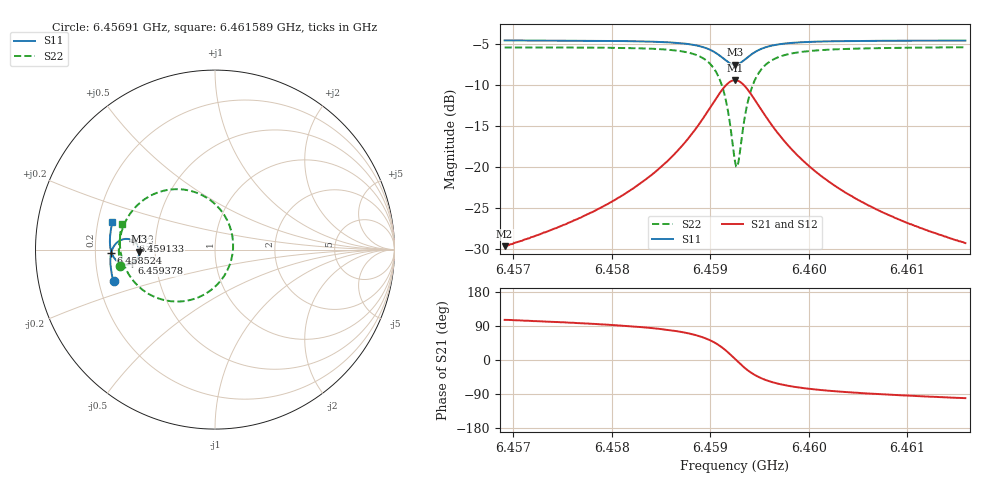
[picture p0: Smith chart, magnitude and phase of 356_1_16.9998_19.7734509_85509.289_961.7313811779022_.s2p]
#  HZ  S  RI  R  50.00
! Rohde & Schwarz Vector Network Analyzer
! Rohde-Schwarz,ZNB20-2Port,1311601062101988,3.16
! Created: UTC 3/20/2024, 11:08:01 PM
! freq[Hz]  re:S11  im:S11  re:S21  im:S21  re:S12  im:S12  re:S22  im:S22
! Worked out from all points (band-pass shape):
!   401 points, 6.45691 GHz to 6.461589 GHz, reference 50 ohm
!   highest |S21| = -9.40 dB at 6.45925 GHz (marker M1); lowest = -29.6 dB at 6.45691 GHz (marker M2)
!   |S21| within 3 dB of the highest: 6.459016 GHz to 6.459484 GHz (467.5 kHz wide, 0.00724 % of centre)
!   lowest |S11| = -7.5 dB at 6.45925 GHz (marker M3), VSWR 2.45, Z = 20.4 - j0.583 ohm
!   |S11| at or under -10 dB: nowhere
!   |S22| runs from -19.9 to -5.4 dB; largest |S21 - S12| = 0.013
!   S11 on the Smith chart (normalised r, x): 6.45691 GHz: 0.26, -0.14; 6.458524 GHz: 0.27, -0.01; 6.459133 GHz: 0.37, +0.05; 6.459378 GHz: 0.36, -0.07; 6.461589 GHz: 0.26, +0.12
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6.4569104e9  -0.565 -0.1773  -0.00906 0.0317  -0.0074 0.0317  -0.5293 -0.0902
6.457694e9  -0.5799 -0.1094  -0.00597 0.0493  -0.00349 0.0488  -0.5357 -6.34e-05
6.4581268e9  -0.5832 -0.0663  -0.000249 0.0685  0.00292 0.0673  -0.5286 0.0671
6.4584777e9  -0.5799 -0.0249  0.0132 0.0968  0.0171 0.0943  -0.5043 0.1445
6.4585245e9  -0.5785 -0.0186  0.0164 0.1023  0.0204 0.0994  -0.4982 0.1574
6.458735e9  -0.5666 0.0132  0.0419 0.1334  0.046 0.1288  -0.4506 0.2285
6.4588871e9  -0.5459 0.0396  0.0836 0.1635  0.0871 0.1571  -0.3739 0.2923
6.4590391e9  -0.5005 0.0595  0.1739 0.1826  0.1748 0.1753  -0.2093 0.3367
6.4591327e9  -0.4566 0.0499  0.2622 0.1526  0.2624 0.1467  -0.0458 0.289
6.4591795e9  -0.4356 0.0315  0.3054 0.1109  0.3066 0.1056  0.0359 0.2148
6.4592497e9  -0.4209 -0.0118  0.3386 0.0158  0.342 0.00908  0.1008 0.0392
6.4592731e9  -0.4226 -0.0274  0.3367 -0.019  0.3405 -0.027  0.0971 -0.0263
6.4592848e9  -0.4247 -0.0349  0.3333 -0.0357  0.3369 -0.0446  0.0903 -0.0584
6.4593316e9  -0.44 -0.0606  0.3057 -0.0948  0.3077 -0.1061  0.0347 -0.1693
6.4593783e9  -0.4614 -0.0765  0.2645 -0.1354  0.2637 -0.1481  -0.0481 -0.2432
6.4594719e9  -0.5042 -0.0831  0.1815 -0.1664  0.1754 -0.1775  -0.2131 -0.2896
6.459624e9  -0.5474 -0.0628  0.095 -0.1531  0.0869 -0.1591  -0.3777 -0.2419
6.4597877e9  -0.5687 -0.0351  0.0511 -0.1261  0.0435 -0.1287  -0.4569 -0.1715
6.4600334e9  -0.5811 0.000393  0.0222 -0.0952  0.0166 -0.0958  -0.5044 -0.0905
6.4603726e9  -0.5855 0.0403  0.00663 -0.0696  0.00265 -0.0693  -0.5253 -0.0143
6.460817e9  -0.5836 0.0846  -0.00141 -0.0508  -0.00409 -0.0501  -0.53 0.0557
6.461589e9  -0.5712 0.1527  -0.00637 -0.0338  -0.00807 -0.033  -0.5184 0.1454
